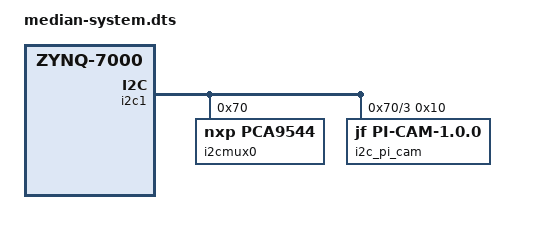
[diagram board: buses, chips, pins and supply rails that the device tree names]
/dts-v1/;
/plugin/;

/ {
	compatible = "xlnx,zynq-7000";
	
	fragment {
		target-path = "/amba";
		
		__overlay__ {
			#address-cells = <1>;
			#size-cells = <1>;
			
			axi_vdma_out: dma@83000000 {
				#dma-cells = <1>;
				compatible = "xlnx,axi-vdma-1.00.a";
				clock-names = "s_axi_lite_aclk", "m_axi_mm2s_aclk", "m_axi_mm2s_aclk";
				clocks = <&clkc 15>, <&clkc 15>, <&clkc 15>;
				interrupt-parent = <&intc>;
				interrupts = <0 29 4>;
				reg = <0x83000000 0x10000>;
				xlnx,addrwidth = <0x20>;
				xlnx,flush-fsync = <0x1>;
				xlnx,num-fstores = <0x1>;
				
				dma-channel@83000000 {
					compatible = "xlnx,axi-vdma-mm2s-channel";
					interrupts = <0 29 4>;
					xlnx,datawidth = <0x20>;
					xlnx,device-id = <0x0>;
					xlnx,genlock-mode ;
					xlnx,include-dre ;
					xlnx,fstore-enable ;
				};				
			};

			axi_vdma_in: dma@43000000 {
				#dma-cells = <1>;
				compatible = "xlnx,axi-vdma-1.00.a";
				clock-names = "s_axi_lite_aclk", "m_axi_s2mm_aclk", "s_axis_s2mm_aclk";
				clocks = <&clkc 15>, <&clkc 15>, <&clkc 15>;
				reg = < 0x43000000 0x10000 >;
				interrupt-parent = <&intc>;
				interrupts = <0 30 4>;
				xlnx,addrwidth = <0x20>;
				xlnx,flush-fsync = <0x1>;
				xlnx,num-fstores = <0x1>;
				
				dma-channel@43000030 {
					compatible = "xlnx,axi-vdma-s2mm-channel";
					interrupts = < 0 30 4 >;
					xlnx,datawidth = <0x20>;
					xlnx,device-id = <0x0>;
					xlnx,genlock-mode ;
					xlnx,include-dre ;
					xlnx,fstore-enable ;
				} ;
			} ;			
			clk_wiz_0: clk_wiz@83c00000 {
				clock-output-names = "clk_out1", "clk_out2", "clk_unused0", "clk_unused1", "clk_unused2", "clk_unused3", "clk_unused4";
				compatible = "xlnx,clocking-wizard";
				reg = <0x83c00000 0x10000>;
				clock-names = "clk_in1", "s_axi_aclk";
				clocks = <&clkc 17>, <&clkc 15>;
				speed-grade = <1>;
			};
			
			vtc_0: v_tc@83c10000 {
				compatible = "xlnx,v-tc-6.1";
				reg = <0x83c10000 0x10000>;
				
				clocks = <&clkc 15>;
				xlnx,generator;
			};
			
			stpg_0: stpg@43C00000 {
				compatible = "jf,stpg-1.0.0";
				reg = <0x43C00000 0x10000>;
				clocks = <&clkc 15>;
			};
		};
	};
	
	fragment1 {
		target = <&i2c1>;
		__overlay__ {
			status = "okay";
			#address-cells = <1>;
			#size-cells = <0>;
			
			i2cmux0: i2cmux@70  {
				compatible = "nxp,pca9544";
				#address-cells = <1>;
				#size-cells = <0>;
				reg = <0x70>;

				i2c1@3 {    // Camera Interface Connector
					#address-cells = <1>;
					#size-cells = <0>;
					reg = <3>;
					
					i2c_pi_cam: cam@10 {
						compatible = "jf,pi-cam-1.0.0";
						reg = <0x10>;
					};
				};
			};
		};
	};
};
